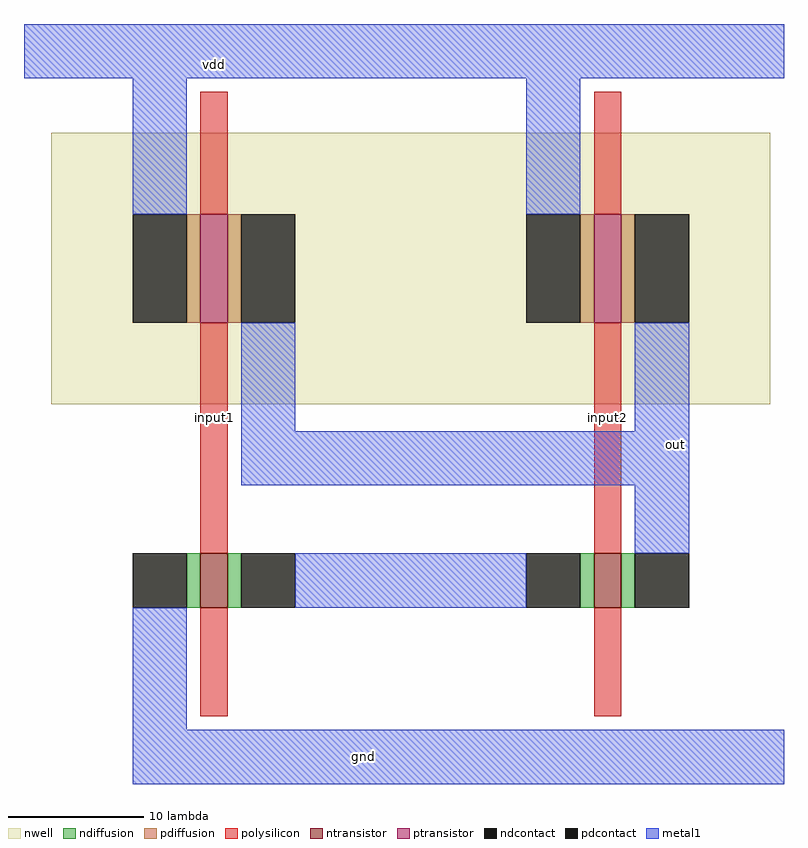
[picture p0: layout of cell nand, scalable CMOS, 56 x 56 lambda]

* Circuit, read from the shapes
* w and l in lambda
.subckt nand gnd input1 input2 out vdd
M1 n1 input1 gnd VSUBS nfet w=4 l=2
M2 out input2 n1 VSUBS nfet w=4 l=2
M3 out input1 vdd n2 pfet w=8 l=2
M4 out input2 vdd n2 pfet w=8 l=2
.ends

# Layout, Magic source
magic
tech scmos
<< nwell >>
rect -10 -12 43 8
<< polysilicon >>
rect 1 2 3 11
rect 30 2 32 11
rect 1 -23 3 -6
rect 30 -23 32 -6
rect 1 -35 3 -27
rect 30 -35 32 -27
<< ndiffusion >>
rect 0 -27 1 -23
rect 3 -27 4 -23
rect 29 -27 30 -23
rect 32 -27 33 -23
<< pdiffusion >>
rect 0 -6 1 2
rect 3 -6 4 2
rect 29 -6 30 2
rect 32 -6 33 2
<< metal1 >>
rect -12 12 44 16
rect -4 2 0 12
rect 25 2 29 12
rect 4 -14 8 -6
rect 33 -14 37 -6
rect 4 -18 37 -14
rect 33 -23 37 -18
rect 8 -27 25 -23
rect -4 -36 0 -27
rect -4 -40 44 -36
<< ntransistor >>
rect 1 -27 3 -23
rect 30 -27 32 -23
<< ptransistor >>
rect 1 -6 3 2
rect 30 -6 32 2
<< ndcontact >>
rect -4 -27 0 -23
rect 4 -27 8 -23
rect 25 -27 29 -23
rect 33 -27 37 -23
<< pdcontact >>
rect -4 -6 0 2
rect 4 -6 8 2
rect 25 -6 29 2
rect 33 -6 37 2
<< labels >>
rlabel metal1 2 13 2 13 5 vdd
rlabel metal1 36 -15 36 -15 1 out
rlabel polysilicon 31 -13 31 -13 1 input2
rlabel metal1 13 -38 13 -38 1 gnd
rlabel polysilicon 2 -13 2 -13 1 input1
<< end >>
